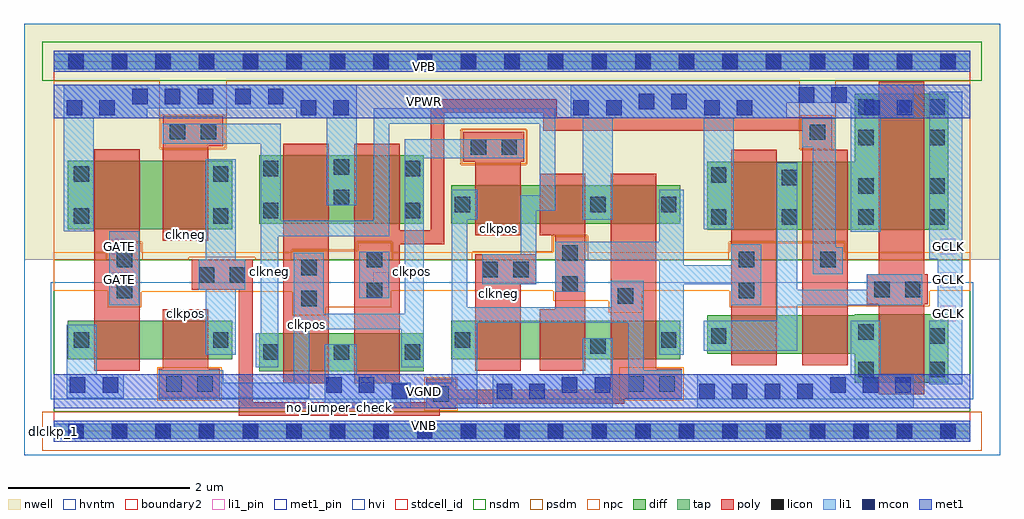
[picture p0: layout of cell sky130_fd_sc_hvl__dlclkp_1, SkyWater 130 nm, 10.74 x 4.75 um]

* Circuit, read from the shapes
.subckt sky130_fd_sc_hvl__dlclkp_1 CLK GATE GCLK VGND VNB VPB VPWR
XM1 n1 GATE VGND VNB sky130_fd_pr__nfet_g5v0d10v5 w=0.42 l=0.5
XM2 n2 n3 n1 VNB sky130_fd_pr__nfet_g5v0d10v5 w=0.42 l=0.5
XM3 VGND n3 n4 VNB sky130_fd_pr__nfet_g5v0d10v5 w=0.42 l=0.5
XM4 n3 CLK VGND VNB sky130_fd_pr__nfet_g5v0d10v5 w=0.42 l=0.5
XM5 n5 n4 n2 VNB sky130_fd_pr__nfet_g5v0d10v5 w=0.42 l=0.5
XM6 VGND n6 n5 VNB sky130_fd_pr__nfet_g5v0d10v5 w=0.42 l=0.5
XM7 n6 n2 VGND VNB sky130_fd_pr__nfet_g5v0d10v5 w=0.42 l=0.5
XM8 n7 n6 n8 VNB sky130_fd_pr__nfet_g5v0d10v5 w=0.42 l=0.5
XM9 VGND CLK n7 VNB sky130_fd_pr__nfet_g5v0d10v5 w=0.42 l=0.5
XM10 GCLK n8 VGND VNB sky130_fd_pr__nfet_g5v0d10v5 w=0.75 l=0.5
XM11 n9 GATE VPWR VPB sky130_fd_pr__pfet_g5v0d10v5 w=0.75 l=0.5
XM12 n2 n4 n9 VPB sky130_fd_pr__pfet_g5v0d10v5 w=0.75 l=0.5
XM13 VPWR n3 n4 VPB sky130_fd_pr__pfet_g5v0d10v5 w=0.75 l=0.5
XM14 n3 CLK VPWR VPB sky130_fd_pr__pfet_g5v0d10v5 w=0.75 l=0.5
XM15 n10 n3 n2 VPB sky130_fd_pr__pfet_g5v0d10v5 w=0.42 l=0.5
XM16 VPWR n6 n10 VPB sky130_fd_pr__pfet_g5v0d10v5 w=0.42 l=0.5
XM17 n6 n2 VPWR VPB sky130_fd_pr__pfet_g5v0d10v5 w=0.42 l=0.5
XM18 n8 n6 VPWR VPB sky130_fd_pr__pfet_g5v0d10v5 w=0.75 l=0.5
XM19 VPWR CLK n8 VPB sky130_fd_pr__pfet_g5v0d10v5 w=0.75 l=0.5
XM20 GCLK n8 VPWR VPB sky130_fd_pr__pfet_g5v0d10v5 w=1.5 l=0.5
.ends

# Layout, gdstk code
import gdstk
lib = gdstk.Library(unit=1e-6, precision=1e-09)
def R(c, l, rs):  # rectangles x0, y0, x1, y1
    for r in rs: c.add(gdstk.rectangle(r[:2], r[2:], *l))
def A(c, l, x, y, w, h, nx, ny, dx, dy):  # array of equal rectangles
    R(c, l, [(x+i*dx, y+j*dy, x+i*dx+w, y+j*dy+h) for i in range(nx) for j in range(ny)])
def P(c, l, *ps):  # polygons
    for p in ps: c.add(gdstk.Polygon(p, *l))
nwell = (64, 20)
diff = (65, 20)
tap = (65, 44)
poly = (66, 20)
licon = (66, 44)
li1_pin = (67, 16)
li1 = (67, 20)
mcon = (67, 44)
met1_pin = (68, 16)
met1 = (68, 20)
hvi = (75, 20)
stdcell_id = (81, 4)
nsdm = (93, 44)
psdm = (94, 20)
npc = (95, 20)
hvntm = (125, 20)
boundary2 = (236, 0)

sky130_fd_sc_hvl__dlclkp = lib.new_cell('sky130_fd_sc_hvl__dlclkp_1')
R(sky130_fd_sc_hvl__dlclkp, nwell, [(-0.33,1.885,10.41,4.485)])
R(sky130_fd_sc_hvl__dlclkp, diff, [(2.26,0.66,4.07,1.08), (0.15,0.795,1.96,1.215), (4.37,0.795,6.89,1.215), (0.15,2.225,1.96,2.975), (2.26,2.285,4.07,3.035), (4.37,2.285,6.89,2.705)])
P(sky130_fd_sc_hvl__dlclkp, diff, [(9.84,3.715),(8.81,3.715),(8.81,2.965),(7.19,2.965),(7.19,2.215),(9.84,2.215)],
  [(9.84,1.285),(8.81,1.285),(8.81,1.275),(7.19,1.275),(7.19,0.855),(8.81,0.855),(8.81,0.535),(9.84,0.535)])
R(sky130_fd_sc_hvl__dlclkp, tap, [(0,-0.085,10.08,0.085), (0,3.985,10.08,4.155)])
R(sky130_fd_sc_hvl__dlclkp, poly, [(4.095,0.245,4.425,0.575), (1.155,0.355,1.825,0.685), (6.125,0.355,6.91,0.685), (9.075,0.405,9.575,1.415), (2.525,0.53,3.025,1.21), (3.305,0.53,3.805,1.21), (0.445,0.665,0.945,3.105), (1.195,0.665,1.695,1.345), (4.635,0.665,5.135,1.615), (5.345,0.665,5.845,1.345), (6.125,0.665,6.625,1.345), (7.455,0.725,7.955,1.415), (8.235,0.725,8.735,1.415), (2.525,1.21,3.025,2.155), (3.305,1.21,3.805,2.155), (2.64,1.295,2.97,1.965), (5.515,1.345,5.845,2.155), (6.125,1.345,6.625,2.155), (3.36,1.385,3.69,2.055), (7.455,1.385,7.785,2.055), (7.455,1.415,7.955,2.085), (8.235,1.415,8.735,2.085), (5.515,1.455,5.845,2.125), (1.515,1.555,2.185,1.885), (4.635,1.615,5.305,1.945), (7.455,2.085,7.955,3.095), (8.235,2.085,8.735,3.095), (9.075,2.085,9.575,3.845), (1.195,2.095,1.695,3.135), (2.525,2.155,3.025,3.165), (3.305,2.155,3.805,3.165), (4.635,2.155,5.135,2.965), (5.345,2.155,5.845,2.835), (6.125,2.155,6.625,2.835), (4.505,2.965,5.175,3.295), (1.195,3.135,1.865,3.465)])
P(sky130_fd_sc_hvl__dlclkp, poly, [(9.615,1.725),(9.575,1.725),(9.575,2.085),(9.075,2.085),(9.075,1.725),(8.945,1.725),(8.945,1.395),(9.615,1.395)],
  [(8.565,3.455),(5.535,3.455),(5.535,3.655),(4.145,3.655),(4.145,2.21),(3.805,2.21),(3.805,2.06),(4.295,2.06),(4.295,3.505),(5.385,3.505),(5.385,3.305),(8.235,3.305),(8.235,3.095),(8.565,3.095)],
  [(6.275,0.455),(4.095,0.455),(4.095,0.32),(2.185,0.32),(2.185,1.74),(2.035,1.74),(2.035,0.17),(4.245,0.17),(4.245,0.305),(6.275,0.305)])
A(sky130_fd_sc_hvl__dlclkp, licon, 0.155, -0.085, 0.17, 0.17, 21, 2, 0.48, 4.07)
A(sky130_fd_sc_hvl__dlclkp, licon, 2.3, 0.785, 0.17, 0.17, 3, 1, 0.78, 0)
R(sky130_fd_sc_hvl__dlclkp, licon, [(4.175,0.325,4.345,0.495), (1.235,0.435,1.405,0.605), (1.575,0.435,1.745,0.605), (6.32,0.435,6.49,0.605), (6.66,0.435,6.83,0.605), (8.85,0.595,9.02,0.765), (9.63,0.595,9.8,0.765), (5.9,0.855,6.07,1.025), (0.22,0.92,0.39,1.09), (1.75,0.92,1.92,1.09), (4.41,0.92,4.58,1.09), (6.68,0.92,6.85,1.09), (7.23,0.965,7.4,1.135), (9.63,0.965,9.8,1.135), (8.85,1.005,9.02,1.175), (2.72,1.375,2.89,1.545), (6.205,1.405,6.375,1.575), (0.69,1.465,0.86,1.635), (3.44,1.465,3.61,1.635), (7.535,1.465,7.705,1.635), (9.025,1.475,9.195,1.645), (9.365,1.475,9.535,1.645), (5.595,1.535,5.765,1.705), (1.595,1.635,1.765,1.805), (1.935,1.635,2.105,1.805), (4.715,1.695,4.885,1.865), (5.055,1.695,5.225,1.865), (2.72,1.715,2.89,1.885), (0.69,1.805,0.86,1.975), (3.44,1.805,3.61,1.975), (7.535,1.805,7.705,1.975), (8.43,1.805,8.6,1.975), (5.595,1.875,5.765,2.045), (7.23,2.275,7.4,2.445), (8.01,2.275,8.18,2.445), (8.85,2.275,9.02,2.445), (9.63,2.275,9.8,2.445), (0.22,2.285,0.39,2.455), (1.75,2.285,1.92,2.455), (2.3,2.345,2.47,2.515), (3.86,2.345,4.03,2.515), (4.41,2.41,4.58,2.58), (5.9,2.41,6.07,2.58), (6.68,2.41,6.85,2.58), (3.08,2.485,3.25,2.655), (8.85,2.615,9.02,2.785), (9.63,2.615,9.8,2.785), (8.01,2.705,8.18,2.875), (7.23,2.735,7.4,2.905), (0.22,2.745,0.39,2.915), (1.75,2.745,1.92,2.915), (2.3,2.805,2.47,2.975), (3.86,2.805,4.03,2.975), (3.08,2.825,3.25,2.995), (4.585,3.045,4.755,3.215), (4.925,3.045,5.095,3.215), (8.85,3.145,9.02,3.315), (9.63,3.145,9.8,3.315), (8.315,3.205,8.485,3.375), (1.275,3.215,1.445,3.385), (1.615,3.215,1.785,3.385), (8.85,3.485,9.02,3.655), (9.63,3.485,9.8,3.655)])
A(sky130_fd_sc_hvl__dlclkp, li1_pin, 9.755, 1.21, 0.17, 0.17, 1, 3, 0, 0.37)
R(sky130_fd_sc_hvl__dlclkp, li1_pin, [(0.635,1.58,0.805,1.75), (3.515,1.58,3.685,1.75), (0.635,1.95,0.805,2.12)])
R(sky130_fd_sc_hvl__dlclkp, li1, [(0,-0.085,10.08,0.085), (0.61,1.385,0.94,2.2), (3.36,1.465,3.69,1.975), (0,3.985,10.08,4.155)])
P(sky130_fd_sc_hvl__dlclkp, li1, [(0.765,0.625),(0.47,0.625),(0.47,1.17),(0.14,1.17),(0.14,0.365),(0.765,0.365)],
  [(2.105,1.885),(2,1.885),(2,2.995),(1.67,2.995),(1.67,1.885),(1.595,1.885),(1.595,1.555),(1.67,1.555),(1.67,0.84),(2,0.84),(2,1.555),(2.105,1.555)],
  [(3.33,3.815),(0.11,3.815),(0.11,2.2),(0.44,2.2),(0.44,3.445),(1.025,3.445),(1.025,3.555),(2.665,3.555),(2.665,3.445),(3,3.445),(3,2.485),(3.33,2.485)],
  [(5.175,3.215),(3.86,3.215),(3.86,1.295),(2.97,1.295),(2.97,1.965),(2.64,1.965),(2.64,0.535),(1.865,0.535),(1.865,0.67),(1.155,0.67),(1.155,0.365),(2.81,0.365),(2.81,1.125),(3.82,1.125),(3.82,0.705),(4.07,0.705),(4.07,3.005),(5.175,3.005)],
  [(5.515,3.555),(3.52,3.555),(3.52,2.315),(2.495,2.315),(2.495,3.385),(1.195,3.385),(1.195,3.165),(2.275,3.165),(2.275,1.08),(2.22,1.08),(2.22,0.705),(2.47,0.705),(2.47,2.145),(3.69,2.145),(3.69,3.385),(5.345,3.385),(5.345,2.595),(5.135,2.595),(5.135,1.945),(4.715,1.945),(4.715,1.615),(5.305,1.615),(5.305,2.425),(5.515,2.425)],
  [(6.15,1.025),(5.82,1.025),(5.82,0.625),(4.83,0.625),(4.83,0.255),(6.15,0.255)],
  [(6.91,0.67),(6.49,0.67),(6.49,1.655),(6.125,1.655),(6.125,1.365),(4.545,1.365),(4.545,2.33),(4.66,2.33),(4.66,2.66),(4.375,2.66),(4.375,0.535),(4.095,0.535),(4.095,0.255),(4.66,0.255),(4.66,1.195),(6.32,1.195),(6.32,0.355),(6.91,0.355)],
  [(7.785,2.055),(7.455,2.055),(7.455,1.825),(6.93,1.825),(6.93,2.66),(6.66,2.66),(6.66,2.085),(5.515,2.085),(5.515,1.535),(5.845,1.535),(5.845,1.875),(6.66,1.875),(6.66,0.84),(6.93,0.84),(6.93,1.615),(7.455,1.615),(7.455,1.385),(7.785,1.385)],
  [(8.68,2.025),(8.6,2.025),(8.6,3.445),(8.235,3.445),(8.235,3.125),(8.35,3.125),(8.35,1.725),(8.68,1.725)],
  [(9.46,3.815),(5.685,3.815),(5.685,3.445),(5.82,3.445),(5.82,2.33),(6.15,2.33),(6.15,3.445),(7.15,3.445),(7.15,2.225),(7.48,2.225),(7.48,3.445),(8.065,3.445),(8.065,3.615),(8.77,3.615),(8.77,2.195),(9.1,2.195),(9.1,3.445),(9.46,3.445)],
  [(9.555,1.725),(8.945,1.725),(8.945,1.555),(8.18,1.555),(8.18,2.955),(7.955,2.955),(7.955,1.215),(7.15,1.215),(7.15,0.885),(8.18,0.885),(8.18,1.385),(9.555,1.385)],
  [(9.995,3.735),(9.63,3.735),(9.63,1.895),(9.725,1.895),(9.725,1.215),(9.63,1.215),(9.63,0.515),(9.995,0.515)],
  [(9.46,0.625),(9.1,0.625),(9.1,1.215),(8.77,1.215),(8.77,0.625),(7.08,0.625),(7.08,0.255),(9.46,0.255)],
  [(3.925,0.535),(3.65,0.535),(3.65,0.625),(3.33,0.625),(3.33,0.955),(2.98,0.955),(2.98,0.255),(3.925,0.255)])
A(sky130_fd_sc_hvl__dlclkp, mcon, 7.1, 0.355, 0.17, 0.17, 4, 1, 0.36, 0)
A(sky130_fd_sc_hvl__dlclkp, mcon, 8.54, 0.425, 0.17, 0.17, 3, 1, 0.36, 0)
A(sky130_fd_sc_hvl__dlclkp, mcon, 0.86, 3.6, 0.17, 0.17, 3, 1, 0.36, 0)
R(sky130_fd_sc_hvl__dlclkp, mcon, [(0.155,-0.085,0.325,0.085), (0.155,-0.085,0.325,0.085), (0.635,-0.085,0.805,0.085), (0.635,-0.085,0.805,0.085), (1.115,-0.085,1.285,0.085), (1.115,-0.085,1.285,0.085), (1.595,-0.085,1.765,0.085), (1.595,-0.085,1.765,0.085), (2.075,-0.085,2.245,0.085), (2.075,-0.085,2.245,0.085), (2.555,-0.085,2.725,0.085), (2.555,-0.085,2.725,0.085), (3.035,-0.085,3.205,0.085), (3.035,-0.085,3.205,0.085), (3.515,-0.085,3.685,0.085), (3.515,-0.085,3.685,0.085), (3.995,-0.085,4.165,0.085), (3.995,-0.085,4.165,0.085), (4.475,-0.085,4.645,0.085), (4.475,-0.085,4.645,0.085), (4.955,-0.085,5.125,0.085), (4.955,-0.085,5.125,0.085), (5.435,-0.085,5.605,0.085), (5.435,-0.085,5.605,0.085), (5.915,-0.085,6.085,0.085), (5.915,-0.085,6.085,0.085), (6.395,-0.085,6.565,0.085), (6.395,-0.085,6.565,0.085), (6.875,-0.085,7.045,0.085), (6.875,-0.085,7.045,0.085), (7.355,-0.085,7.525,0.085), (7.355,-0.085,7.525,0.085), (7.835,-0.085,8.005,0.085), (7.835,-0.085,8.005,0.085), (8.315,-0.085,8.485,0.085), (8.315,-0.085,8.485,0.085), (8.795,-0.085,8.965,0.085), (8.795,-0.085,8.965,0.085), (9.275,-0.085,9.445,0.085), (9.275,-0.085,9.445,0.085), (9.755,-0.085,9.925,0.085), (9.755,-0.085,9.925,0.085), (3.715,0.355,3.885,0.525), (4.87,0.355,5.04,0.525), (5.23,0.355,5.4,0.525), (0.175,0.425,0.345,0.595), (0.535,0.425,0.705,0.595), (2.995,0.425,3.165,0.595), (3.355,0.425,3.525,0.595), (5.59,0.425,5.76,0.595), (5.95,0.425,6.12,0.595), (0.14,3.475,0.31,3.645), (0.5,3.475,0.67,3.645), (2.715,3.475,2.885,3.645), (3.075,3.475,3.245,3.645), (5.715,3.475,5.885,3.645), (6.075,3.475,6.245,3.645), (7.155,3.475,7.325,3.645), (7.515,3.475,7.685,3.645), (8.915,3.475,9.085,3.645), (9.275,3.475,9.445,3.645), (6.435,3.545,6.605,3.715), (6.795,3.545,6.965,3.715), (1.995,3.6,2.165,3.77), (2.355,3.6,2.525,3.77), (8.195,3.615,8.365,3.785), (8.555,3.615,8.725,3.785), (0.155,3.985,0.325,4.155), (0.155,3.985,0.325,4.155), (0.635,3.985,0.805,4.155), (0.635,3.985,0.805,4.155), (1.115,3.985,1.285,4.155), (1.115,3.985,1.285,4.155), (1.595,3.985,1.765,4.155), (1.595,3.985,1.765,4.155), (2.075,3.985,2.245,4.155), (2.075,3.985,2.245,4.155), (2.555,3.985,2.725,4.155), (2.555,3.985,2.725,4.155), (3.035,3.985,3.205,4.155), (3.035,3.985,3.205,4.155), (3.515,3.985,3.685,4.155), (3.515,3.985,3.685,4.155), (3.995,3.985,4.165,4.155), (3.995,3.985,4.165,4.155), (4.475,3.985,4.645,4.155), (4.475,3.985,4.645,4.155), (4.955,3.985,5.125,4.155), (4.955,3.985,5.125,4.155), (5.435,3.985,5.605,4.155), (5.435,3.985,5.605,4.155), (5.915,3.985,6.085,4.155), (5.915,3.985,6.085,4.155), (6.395,3.985,6.565,4.155), (6.395,3.985,6.565,4.155), (6.875,3.985,7.045,4.155), (6.875,3.985,7.045,4.155), (7.355,3.985,7.525,4.155), (7.355,3.985,7.525,4.155), (7.835,3.985,8.005,4.155), (7.835,3.985,8.005,4.155), (8.315,3.985,8.485,4.155), (8.315,3.985,8.485,4.155), (8.795,3.985,8.965,4.155), (8.795,3.985,8.965,4.155), (9.275,3.985,9.445,4.155), (9.275,3.985,9.445,4.155), (9.755,3.985,9.925,4.155), (9.755,3.985,9.925,4.155)])
R(sky130_fd_sc_hvl__dlclkp, met1_pin, [(0,0,10.08,0.115), (0,0.255,10.08,0.625), (0,3.445,10.08,3.815), (0,3.955,10.08,4.07)])
R(sky130_fd_sc_hvl__dlclkp, met1, [(0,-0.115,10.08,0.115), (0,0.255,10.08,0.625), (0,3.445,10.08,3.815), (0,3.955,10.08,4.185)])
R(sky130_fd_sc_hvl__dlclkp, hvi, [(-0.33,-0.265,10.41,4.485)])
R(sky130_fd_sc_hvl__dlclkp, stdcell_id, [(0,0,10.08,4.07)])
R(sky130_fd_sc_hvl__dlclkp, nsdm, [(0,0.215,10.08,1.885), (0.02,0.405,9.97,1.415), (-0.13,3.855,10.21,4.285), (0,3.855,10.08,4.07)])
R(sky130_fd_sc_hvl__dlclkp, psdm, [(-0.13,-0.215,10.21,0.215)])
P(sky130_fd_sc_hvl__dlclkp, psdm, [(10.08,3.855),(8.595,3.855),(8.595,3.095),(8.205,3.095),(8.205,3.855),(5.205,3.855),(5.205,2.935),(4.475,2.935),(4.475,3.325),(5.205,3.325),(5.205,3.855),(1.895,3.855),(1.895,3.105),(1.165,3.105),(1.165,3.855),(0,3.855),(0,1.885),(0.58,1.885),(0.58,2.085),(0.97,2.085),(0.97,1.885),(1.485,1.885),(1.485,1.915),(2.215,1.915),(2.215,1.885),(2.61,1.885),(2.61,1.995),(3.325,1.995),(3.325,2.085),(3.72,2.085),(3.72,1.885),(4.605,1.885),(4.605,1.975),(5.485,1.975),(5.485,2.155),(5.875,2.155),(5.875,1.885),(7.425,1.885),(7.425,2.085),(8.71,2.085),(8.71,1.885),(10.08,1.885)])
R(sky130_fd_sc_hvl__dlclkp, npc, [(4.075,0.225,4.445,0.595), (1.135,0.335,1.845,0.705), (6.22,0.335,6.93,0.705), (4.485,2.945,5.195,3.315), (8.215,3.105,8.585,3.475), (1.175,3.115,1.885,3.485)])
P(sky130_fd_sc_hvl__dlclkp, npc, [(10.08,1.97),(8.7,1.97),(8.7,2.075),(7.435,2.075),(7.435,1.97),(5.865,1.97),(5.865,2.145),(5.495,2.145),(5.495,1.97),(3.71,1.97),(3.71,2.075),(3.34,2.075),(3.34,1.985),(2.62,1.985),(2.62,1.97),(0.96,1.97),(0.96,2.075),(0.59,2.075),(0.59,1.97),(0,1.97),(0,1.545),(0.59,1.545),(0.59,1.365),(0.96,1.365),(0.96,1.535),(2.62,1.535),(2.62,1.275),(2.99,1.275),(2.99,1.365),(3.71,1.365),(3.71,1.545),(5.495,1.545),(5.495,1.435),(6.105,1.435),(6.105,1.305),(6.475,1.305),(6.475,1.545),(7.435,1.545),(7.435,1.365),(8.72,1.365),(8.72,1.375),(9.635,1.375),(9.635,1.545),(10.08,1.545)])
R(sky130_fd_sc_hvl__dlclkp, hvntm, [(-0.035,0.35,10.115,1.64)])
R(sky130_fd_sc_hvl__dlclkp, boundary2, [(0,0,10.08,4.07)])
sky130_fd_sc_hvl__dlclkp.add(gdstk.Label('clkneg', (4.89,1.515), layer=83, texttype=44))
sky130_fd_sc_hvl__dlclkp.add(gdstk.Label('clkpos', (2.78,1.17), layer=83, texttype=44))
sky130_fd_sc_hvl__dlclkp.add(gdstk.Label('clkpos', (4.89,2.23), layer=83, texttype=44))
sky130_fd_sc_hvl__dlclkp.add(gdstk.Label('dlclkp_1', (0,0), layer=83, texttype=44))
sky130_fd_sc_hvl__dlclkp.add(gdstk.Label('clkneg', (2.37,1.76), layer=83, texttype=44))
sky130_fd_sc_hvl__dlclkp.add(gdstk.Label('clkpos', (1.45,1.295), layer=83, texttype=44))
sky130_fd_sc_hvl__dlclkp.add(gdstk.Label('clkpos', (3.93,1.76), layer=83, texttype=44))
sky130_fd_sc_hvl__dlclkp.add(gdstk.Label('clkneg', (1.45,2.17), layer=83, texttype=44))
sky130_fd_sc_hvl__dlclkp.add(gdstk.Label('no_jumper_check', (3.145,0.265), layer=83, texttype=44))
sky130_fd_sc_hvl__dlclkp.add(gdstk.Label('VGND', (4.08,0.44), layer=68, texttype=5))
sky130_fd_sc_hvl__dlclkp.add(gdstk.Label('VNB', (4.08,0.058), layer=68, texttype=5))
sky130_fd_sc_hvl__dlclkp.add(gdstk.Label('VPWR', (4.08,3.63), layer=68, texttype=5))
sky130_fd_sc_hvl__dlclkp.add(gdstk.Label('VPB', (4.08,4.013), layer=68, texttype=5))
sky130_fd_sc_hvl__dlclkp.add(gdstk.Label('GATE', (0.72,1.665), layer=67, texttype=5))
sky130_fd_sc_hvl__dlclkp.add(gdstk.Label('CLK', (3.6,1.665), layer=67, texttype=5))
sky130_fd_sc_hvl__dlclkp.add(gdstk.Label('GCLK', (9.84,2.035), layer=67, texttype=5))
sky130_fd_sc_hvl__dlclkp.add(gdstk.Label('GCLK', (9.84,1.665), layer=67, texttype=5))
sky130_fd_sc_hvl__dlclkp.add(gdstk.Label('GCLK', (9.84,1.295), layer=67, texttype=5))
sky130_fd_sc_hvl__dlclkp.add(gdstk.Label('GATE', (0.72,2.035), layer=67, texttype=5))

lib.write_gds('sky130_fd_sc_hvl__dlclkp_1.gds')
